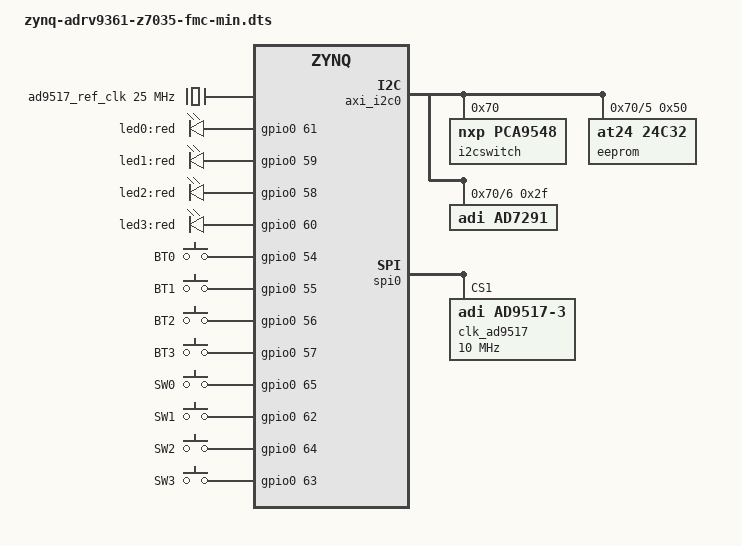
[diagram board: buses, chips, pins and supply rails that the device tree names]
// SPDX-License-Identifier: GPL-2.0
/*
 * AD9361-Z0735 System on Module (SOM) SDR - FMC Carrier
 * Link: https://www.analog.com/ADRV9361-Z7035
 * Link: https://wiki.analog.com/resources/eval/user-guides/adrv936x_rfsom
 *
 * hdl_project: <adrv9361z7035/ccfmc_lvds>
 * board_revision: <>
 *
 * Copyright 2015-2019 Analog Devices Inc.
 */
/dts-v1/;
#include "zynq-adrv9361-z7035-min.dtsi"

#include <dt-bindings/input/input.h>

/ {
	clocks {
		ad9517_ref_clk: clock@3 {
				#clock-cells = <0>;
				compatible = "fixed-clock";
				clock-frequency = <25000000>;
				clock-output-names = "ad9517_refclk";
		};
	};
};

&axi_i2c0 {

	i2cswitch@70 {
		compatible = "nxp,pca9548";
		#address-cells = <1>;
		#size-cells = <0>;
		reg = <0x70>;

		i2c@0 {
			#address-cells = <1>;
			#size-cells = <0>;
			reg = <0>;
		};

		i2c@1 {
			#address-cells = <1>;
			#size-cells = <0>;
			reg = <1>;
		};

		i2c@2 {
			#address-cells = <1>;
			#size-cells = <0>;
			reg = <2>;
		};

		i2c@3 {
			#address-cells = <1>;
			#size-cells = <0>;
			reg = <3>;
		};

		i2c@4 {
			#address-cells = <1>;
			#size-cells = <0>;
			reg = <4>;
		};

		i2c@5 {
			#address-cells = <1>;
			#size-cells = <0>;
			reg = <5>;
			eeprom@50 {
				compatible = "at24,24c32";
				reg = <0x50>;
			};
		};

		i2c@6 {
			#address-cells = <1>;
			#size-cells = <0>;
			reg = <6>;

			ad7291@2f {
				compatible = "adi,ad7291";
				reg = <0x2f>;
			};
		};

		i2c@7 {
			#address-cells = <1>;
			#size-cells = <0>;
			reg = <7>;
		};
	};
};

/ {
	fpga_axi: fpga-axi@0 {
		compatible = "simple-bus";
		#address-cells = <0x1>;
		#size-cells = <0x1>;
		ranges;

		leds {
			compatible = "gpio-leds";
			led0 {
				label = "led0:red";
				gpios = <&gpio0 61 0>;
			};

			led1 {
				label = "led1:red";
				gpios = <&gpio0 59 0>;
			};

			led2 {
				label = "led2:red";
				gpios = <&gpio0 58 0>;
			};

			led3 {
				label = "led3:red";
				gpios = <&gpio0 60 0>;
			};
		};

		gpio_keys {
			compatible = "gpio-keys";
			#address-cells = <1>;
			#size-cells = <0>;
			autorepeat;

			bt0 {
				label = "BT0";
				linux,code = <KEY_LEFT>;
				gpios = <&gpio0 54 0>;
			};

			bt1 {
				label = "BT1";
				linux,code = <KEY_RIGHT>;
				gpios = <&gpio0 55 0>;
			};

			bt2 {
				label = "BT2";
				linux,code = <KEY_ENTER>;
				gpios = <&gpio0 56 0>;
			};

			bt3 {
				label = "BT3";
				linux,code = <KEY_ESC>;
				gpios = <&gpio0 57 0>;
			};

			sw0 {
				label = "SW0";
				linux,input-type = <5>;
				linux,code = <13>;
				gpios = <&gpio0 65 0>;
			};

			sw1 {
				label = "SW1";
				linux,input-type = <5>;
				linux,code = <1>;
				gpios = <&gpio0 62 0>;
			};

			sw2 {
				label = "SW2";
				linux,input-type = <5>;
				linux,code = <2>;
				gpios = <&gpio0 64 0>;
			};

			sw3 {
				label = "SW3";
				linux,input-type = <5>;
				linux,code = <3>;
				gpios = <&gpio0 63 0>;
			};
		};
	};
};

&spi0 {
	clk_ad9517: ad9517@1 {
		#address-cells = <1>;
		#size-cells = <0>;
		#clock-cells = <1>;
		compatible = "adi,ad9517-3";
		reg = <1>;
		spi-max-frequency = <10000000>;
		clocks = <&ad9517_ref_clk>, <&ad9517_ref_clk>;
		clock-names = "refclk", "clkin";
		clock-output-names = "out0", "out1", "out2", "out3", "out4", "out5", "out6", "out7";
		firmware = "pzsdr-fmc-ad9517.stp";
	};
};
